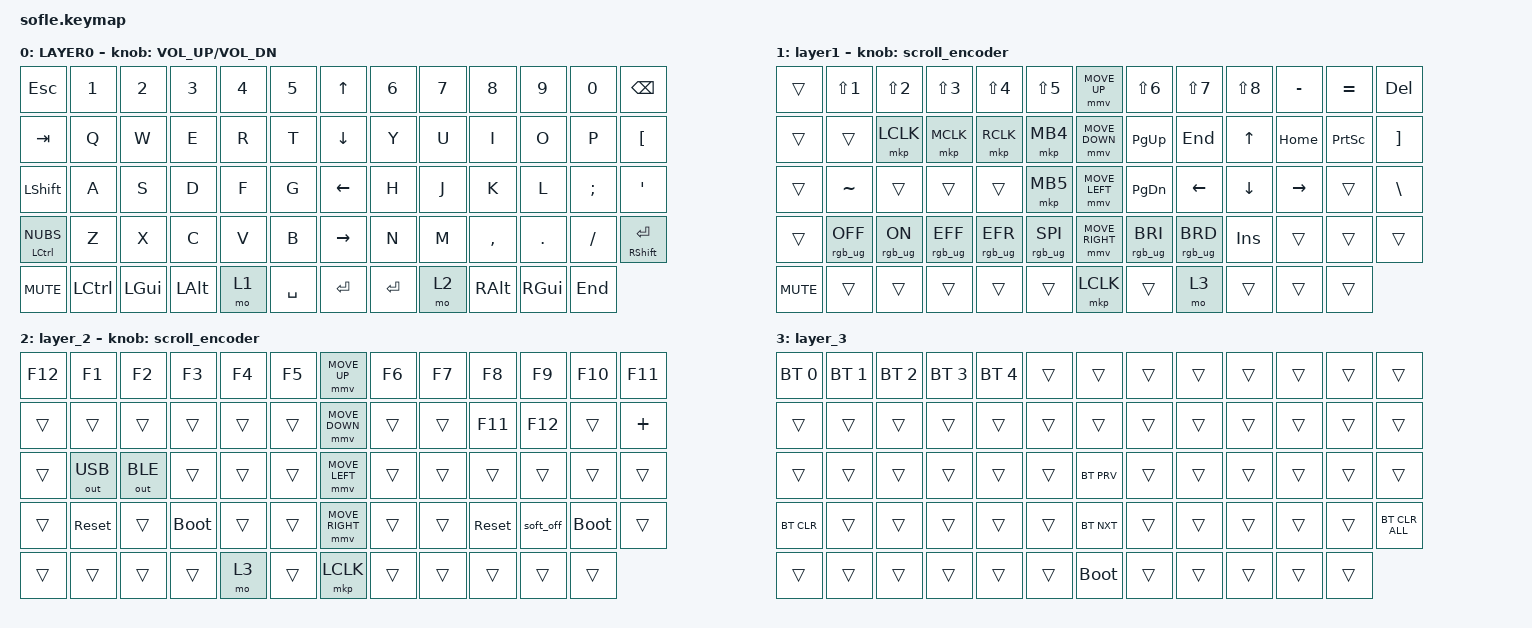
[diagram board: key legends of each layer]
#include <behaviors/mouse_keys.dtsi>
#include <dt-bindings/zmk/mouse.h>
#include <behaviors.dtsi>
#include <dt-bindings/zmk/bt.h>
#include <dt-bindings/zmk/keys.h>
#include <dt-bindings/zmk/outputs.h>
#include <dt-bindings/zmk/rgb.h>

#define ZMK_MOUSE_DEFAULT_MOVE_VAL 1200  // 600
#define ZMK_MOUSE_DEFAULT_SCRL_VAL 20    // 10
#define U_MS_U &mmv MOVE_UP
#define U_MS_D &mmv MOVE_DOWN
#define U_MS_L &mmv MOVE_LEFT
#define U_MS_R &mmv MOVE_RIGHT
#define ZMK_MOUSE_DEFAULT_MOVE_VAL 1200  //  600
#define ZMK_MOUSE_DEFAULT_SCRL_VAL 20    // 10

/ {
    behaviors {
        mmv {
            acceleration-exponent = <1>;      // 1
            time-to-max-speed-ms = <900>;    // 40
            delay-ms = <0>;                   // 0
        };

        msc {
            acceleration-exponent = <1>;      // 0
            time-to-max-speed-ms = <400>;      // 500
            delay-ms = <0>;                   //   10
        };
    };

    scroll_encoder: scroll_encoder {
        compatible = "zmk,behavior-sensor-rotate";
        #sensor-binding-cells = <0>;
        bindings = <&msc SCRL_DOWN>, <&msc SCRL_UP>;

        tap-ms = <30>;
    };

    rgb_encoder: rgb_encoder {
        compatible = "zmk,behavior-sensor-rotate";
        label = "RGB_ENCODER";
        #sensor-binding-cells = <0>;
        bindings = <&rgb_ug RGB_BRI>, <&rgb_ug RGB_BRD>;
    };

    keymap {
        compatible = "zmk,keymap";

        layer0 {
            bindings = <
&kp ESC         &kp N1     &kp N2        &kp N3        &kp N4  &kp N5       &kp UP_ARROW     &kp N6     &kp N7  &kp N8         &kp N9         &kp N0    &kp BACKSPACE
&kp TAB         &kp Q      &kp W         &kp E         &kp R   &kp T        &kp DOWN_ARROW   &kp Y      &kp U   &kp I          &kp O          &kp P     &kp LBKT
&kp LEFT_SHIFT  &kp A      &kp S         &kp D         &kp F   &kp G        &kp LEFT_ARROW   &kp H      &kp J   &kp K          &kp L          &kp SEMI  &kp SQT
&mt LCTRL NUBS  &kp Z      &kp X         &kp C         &kp V   &kp B        &kp RIGHT_ARROW  &kp N      &kp M   &kp COMMA      &kp DOT        &kp FSLH  &mt RSHFT ENTER
&kp C_MUTE      &kp LCTRL  &kp LEFT_GUI  &kp LEFT_ALT  &mo 1   &kp SPACE    &kp ENTER        &kp ENTER  &mo 2   &kp RIGHT_ALT  &kp RIGHT_GUI  &kp END
            >;

            sensor-bindings = <&inc_dec_kp C_VOLUME_UP C_VOL_DN>;
            display-name = "LAYER0";
        };

        layer_1 {
            bindings = <
&trans      &kp LS(NUMBER_1)  &kp LS(NUMBER_2)  &kp LS(NUMBER_3)  &kp LS(NUMBER_4)  &kp LS(N5)         &mmv MOVE_UP     &kp LS(N6)       &kp LS(N7)       &kp LS(N8)  &kp MINUS  &kp EQUAL        &kp DELETE
&trans      &trans            &mkp LCLK         &mkp MCLK         &mkp RCLK         &mkp MB4           &mmv MOVE_DOWN   &kp PG_UP        &kp END          &kp UP      &kp HOME   &kp PRINTSCREEN  &kp RIGHT_BRACKET
&trans      &kp TILDE         &trans            &trans            &trans            &mkp MB5           &mmv MOVE_LEFT   &kp PG_DN        &kp LEFT         &kp DOWN    &kp RIGHT  &trans           &kp BSLH
&trans      &rgb_ug RGB_OFF   &rgb_ug RGB_ON    &rgb_ug RGB_EFF   &rgb_ug RGB_EFR   &rgb_ug RGB_SPI    &mmv MOVE_RIGHT  &rgb_ug RGB_BRI  &rgb_ug RGB_BRD  &kp INSERT  &trans     &trans           &trans
&kp C_MUTE  &trans            &trans            &trans            &trans            &trans             &mkp LCLK        &trans           &mo 3            &trans      &trans     &trans
            >;

            display-name = "layer1";
            sensor-bindings = <&scroll_encoder>;
        };

        layer_2 {
            bindings = <
&kp F12  &kp F1        &kp F2        &kp F3       &kp F4  &kp F5    &mmv MOVE_UP     &kp F6  &kp F7  &kp F8      &kp F9     &kp F10      &kp F11
&trans   &trans        &trans        &trans       &trans  &trans    &mmv MOVE_DOWN   &trans  &trans  &kp F11     &kp F12    &trans       &kp PLUS
&trans   &out OUT_USB  &out OUT_BLE  &trans       &trans  &trans    &mmv MOVE_LEFT   &trans  &trans  &trans      &trans     &trans       &trans
&trans   &sys_reset    &trans        &bootloader  &trans  &trans    &mmv MOVE_RIGHT  &trans  &trans  &sys_reset  &soft_off  &bootloader  &trans
&trans   &trans        &trans        &trans       &mo 3   &trans    &mkp LCLK        &trans  &trans  &trans      &trans     &trans
            >;

            sensor-bindings = <&scroll_encoder>;
        };

        layer_3 {
            bindings = <
&bt BT_SEL 0  &bt BT_SEL 1  &bt BT_SEL 2  &bt BT_SEL 3  &bt BT_SEL 4  &trans    &trans       &trans  &trans  &trans  &trans  &trans  &trans
&trans        &trans        &trans        &trans        &trans        &trans    &trans       &trans  &trans  &trans  &trans  &trans  &trans
&trans        &trans        &trans        &trans        &trans        &trans    &bt BT_PRV   &trans  &trans  &trans  &trans  &trans  &trans
&bt BT_CLR    &trans        &trans        &trans        &trans        &trans    &bt BT_NXT   &trans  &trans  &trans  &trans  &trans  &bt BT_CLR_ALL
&trans        &trans        &trans        &trans        &trans        &trans    &bootloader  &trans  &trans  &trans  &trans  &trans
            >;
        };
    };
};
